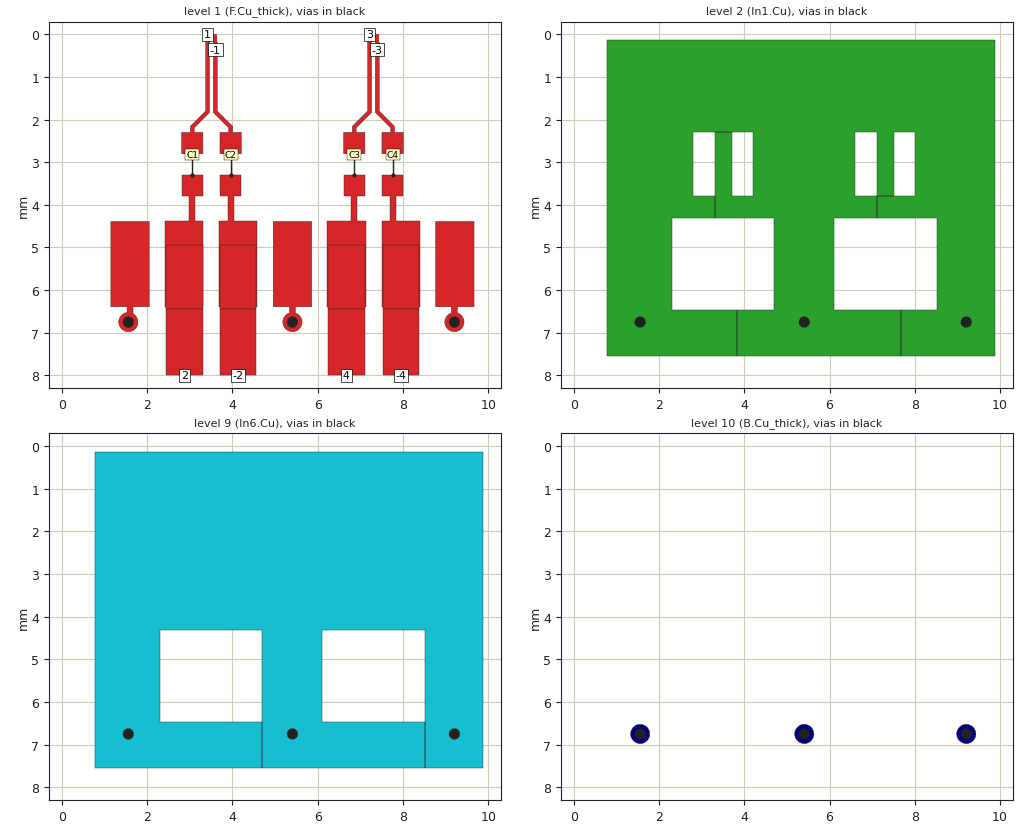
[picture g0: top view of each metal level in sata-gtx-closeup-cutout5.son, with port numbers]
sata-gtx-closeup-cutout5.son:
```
FTYP SONPROJ 19 ! Sonnet Project File
VER 18.52
HEADER
LIC antikernel2.1.51176
DAT 01/05/2022 13:49:53
BUILT_BY_CREATED dxf 18.52 12/15/2021 18:24:32
BUILT_BY_SAVED sonnet 18.52
MDATE 01/05/2022 13:49:53
HDATE 01/05/2022 13:49:53
ANN Created by dxfgeo, Sonnet Software Inc.
END HEADER
DIM
ANG DEG
CAP PF
CON /OH
FREQ GHZ
IND NH
LNG MM
RES OH
END DIM
CONTROL
VARSWP
OPTIONS  -dj
SPEED 1
CACHE_ABS 2
Q_ACC N
END CONTROL
GEO
DRP1 TOP LINK
POLY 6330 1
0
DRP1 BOTTOM LINK
POLY 6343 1
0
TMET "Free Space" 0 FREESPACE 376.7303136 0 0 0
BMET "Free Space" 0 FREESPACE 376.7303136 0 0 0
MET "Copper_1oz_thin" 1 NOR 58000000 0.5 0.035 
MET "Copper_1oz_thick" 2 TMM 58000000 0.5 0.035 2
MET "Copper_0.5oz_thin" 4 NOR 58000000 0.5 0.017 
MET "Copper_0.5oz_thick" 12 TMM 58000000 0.5 0.017 2
MET "Copper_0.5oz_thick_down" 5 TMM 58000000 0.5 0.017 2 CDVY TDWN
MET "Copper_1oz_thick_down" 3 TMM 58000000 0.5 0.035 2 CDVY TDWN
MET "ConnectorPin" 9 TMM 58000000 0.5 0.2 3
BOX 12 10 8 800 640 20 0
      5 1 1 0 0 0 0 "Air"
      0.04 3.5 1 0.025 0 0 0 "Soldermask"
      0.075 3.39 1 0.004 0 0 0 "Panasonic_R-5775(G)"
      0.068 3.56 1 0.004 0 0 0 "Panasonic_R-5670(G)"
      0.13 3.39 1 0.004 0 0 0 "Panasonic_R-5775(G)"
      0.092 3.56 1 0.004 0 0 0 "Panasonic_R-5670(G)"
      0.609 3.39 1 0.004 0 0 0 "Panasonic_R-5775(G)"
      0.092 3.56 1 0.004 0 0 0 "Panasonic_R-5670(G)"
      0.13 3.39 1 0.004 0 0 0 "Panasonic_R-5775(G)"
      0.068 3.56 1 0.004 0 0 0 "Panasonic_R-5670(G)"
      0.075 3.39 1 0.004 0 0 0 "Panasonic_R-5775(G)"
      0.04 3.5 1 0.025 0 0 0 "Soldermask"
      5 1 1 0 0 0 0 "Air"
TECHLAY METAL F.Cu_thick L1D0 -2 -65534 CAD F.Cu_thick drawing 
1 0 1 N 6449 1 1 100 100 0 0 0 Y
END
END
TECHLAY VIA Via1 L9D0 -13 -65534 CAD Via1 drawing 
VIA POLYGON
1 0 -1 N 6455 1 1 100 100 0 0 0 Y
TOLEVEL 10 RING NOCOVERS
END
END
TECHLAY METAL F.Cu_thin <UNSPECIFIED> -1 -65534 CAD F.Cu_thin drawing 
1 0 0 N 6457 1 1 100 100 0 0 0 Y
END
END
TECHLAY METAL ConnectorPin <UNSPECIFIED> -14 -65534 
1 0 6 N 6459 1 1 100 100 0 0 0 Y
END
END
TECHLAY METAL In1.Cu L2D0 -3 -65534 CAD In1.Cu drawing 
2 0 0 N 6474 1 1 100 100 0 0 0 Y
END
END
TECHLAY METAL In2.Cu_thick L3D0 -5 -65534 CAD In2.Cu_thick drawing 
3 0 3 N 6477 1 1 100 100 0 0 0 Y
END
END
TECHLAY METAL In2.Cu_thin <UNSPECIFIED> -4 -65534 CAD In2.Cu drawing 
3 0 2 N 6479 1 1 100 100 0 0 0 Y
END
END
TECHLAY METAL In3.Cu L4D0 -6 -65534 CAD In3.Cu drawing 
4 0 0 N 6482 1 1 100 100 0 0 0 Y
END
END
TECHLAY METAL In4.Cu L5D0 -7 -65534 CAD In4.Cu drawing 
7 0 0 N 6487 1 1 100 100 0 0 0 Y
END
END
TECHLAY METAL In5.Cu_thick L6D0 -9 -65534 CAD In5.Cu_thick drawing 
8 0 4 N 6490 1 1 100 100 0 0 0 Y
END
END
TECHLAY METAL In5.Cu_thin <UNSPECIFIED> -8 -65534 CAD In5.Cu drawing 
8 0 2 N 6492 1 1 100 100 0 0 0 Y
END
END
TECHLAY METAL In6.Cu L7D0 -10 -65534 CAD In6.Cu drawing 
9 0 0 N 6495 1 1 100 100 0 0 0 Y
END
END
TECHLAY METAL B.Cu_thick L8D0 -12 -65534 CAD B.Cu_thick drawing 
10 0 5 N 6498 1 1 100 100 0 0 0 Y
END
END
TECHLAY METAL B.Cu_thin <UNSPECIFIED> -11 -65534 CAD B.Cu_thin drawing 
10 0 0 N 6500 1 1 100 100 0 0 0 Y
END
END
VALVAR CORE_ER NONE "table1(\"core_er.csv\",FREQ)" "Variable set in material file"
VALVAR CORE_DF NONE "table1(\"core_df.csv\",FREQ)" "Variable set in material file"
VALVAR PREPREG_DF NONE "table1(\"prepreg_df.csv\",FREQ)" "Variable set in material file"
VALVAR PREPREG_ER NONE "table1(\"prepreg_er.csv\",FREQ)" "Variable set in material file"
LORGN 0 8 U 
POR1 BOX
POLY 6330 1
2
1 100 0 0 0 3.417 0 
POR1 BOX
POLY 6334 1
2
-1 100 0 0 0 3.597 0 
POR1 BOX
POLY 6337 1
2
3 100 0 0 0 7.217 0 
POR1 BOX
POLY 6340 1
2
-3 100 0 0 0 7.397 0 
POR1 BOX
POLY 6343 1
2
-4 100 0 0 0 7.95 8 
POR1 BOX
POLY 6347 1
2
4 100 0 0 0 6.675 8 
POR1 BOX
POLY 6350 1
2
-2 100 0 0 0 4.125 8 
POR1 BOX
POLY 6353 1
2
2 100 0 0 0 2.875 8 
SMD 1 "C1"
ID 6037
GNDREF AUTO
DRP1 TOP NONE 1
DRP1 BOTTOM NONE 1
SBOX 2.932 3.182 2.925 3.175
PBSHW N
LPOS 3.057 2.925
TYPE IDEAL CAP 100000
SMDP 1 3.057 2.8 T 5 1 
EXSMDP
GNDREF AUTO
TERMW FEED
END EXSMDP
SMDP 1 3.057 3.3 B 6 2 
EXSMDP
GNDREF AUTO
TERMW FEED
END EXSMDP
END
SMD 1 "C2"
ID 6042
GNDREF AUTO
DRP1 TOP NONE 1
DRP1 BOTTOM NONE 1
SBOX 3.832 4.082 2.925 3.175
PBSHW N
LPOS 3.957 2.925
TYPE IDEAL CAP 100000
SMDP 1 3.957 2.8 T 7 1 
EXSMDP
GNDREF AUTO
TERMW FEED
END EXSMDP
SMDP 1 3.957 3.3 B 8 2 
EXSMDP
GNDREF AUTO
TERMW FEED
END EXSMDP
END
SMD 1 "C3"
ID 6047
GNDREF AUTO
DRP1 TOP NONE 1
DRP1 BOTTOM NONE 1
SBOX 6.732 6.982 2.925 3.175
PBSHW N
LPOS 6.857 2.925
TYPE IDEAL CAP 100000
SMDP 1 6.857 2.8 T 9 1 
EXSMDP
GNDREF AUTO
TERMW FEED
END EXSMDP
SMDP 1 6.857 3.3 B 10 2 
EXSMDP
GNDREF AUTO
TERMW FEED
END EXSMDP
END
SMD 1 "C4"
ID 6052
GNDREF AUTO
DRP1 TOP NONE 1
DRP1 BOTTOM NONE 1
SBOX 7.632 7.882 2.925 3.175
PBSHW N
LPOS 7.757 2.925
TYPE IDEAL CAP 100000
SMDP 1 7.757 2.8 T 11 1 
EXSMDP
GNDREF AUTO
TERMW FEED
END EXSMDP
SMDP 1 7.757 3.3 B 12 2 
EXSMDP
GNDREF AUTO
TERMW FEED
END EXSMDP
END
NUM 31
1 13 1 N 36 1 1 100 100 0 0 0 Y
TLAYNAM F.Cu_thick INH
3.687 6.39
3.687 4.39
3.887 4.39
3.887 3.8
3.707 3.8
3.707 3.3
4.207 3.3
4.207 3.8
4.027 3.8
4.027 4.39
4.587 4.39
4.587 6.39
3.687 6.39
END
1 67 1 N 243 1 1 100 100 0 0 0 Y
TLAYNAM F.Cu_thick INH
1.546 6.975
1.524 6.973
1.502 6.968
1.481 6.962
1.461 6.953
1.441 6.943
1.423 6.931
1.406 6.917
1.39 6.901
1.376 6.884
1.364 6.866
1.354 6.846
1.345 6.826
1.339 6.805
1.334 6.783
1.332 6.761
1.332 6.739
1.334 6.717
1.339 6.695
1.345 6.674
1.354 6.654
1.364 6.634
1.376 6.616
1.39 6.599
1.406 6.583
1.423 6.569
1.441 6.557
1.461 6.547
1.481 6.538
1.502 6.532
1.524 6.527
1.527 6.527
1.527 6.39
1.147 6.39
1.147 4.39
2.047 4.39
2.047 6.39
1.667 6.39
1.667 6.554
1.673 6.557
1.691 6.569
1.708 6.583
1.724 6.599
1.738 6.616
1.75 6.634
1.76 6.654
1.769 6.674
1.775 6.695
1.78 6.717
1.782 6.739
1.782 6.761
1.78 6.783
1.775 6.805
1.769 6.826
1.76 6.846
1.75 6.866
1.738 6.884
1.724 6.901
1.708 6.917
1.691 6.931
1.673 6.943
1.653 6.953
1.633 6.962
1.612 6.968
1.59 6.973
1.568 6.975
1.546 6.975
END
1 13 1 N 245 1 1 100 100 0 0 0 Y
TLAYNAM F.Cu_thick INH
2.417 6.39
2.417 4.39
2.987 4.39
2.987 3.8
2.807 3.8
2.807 3.3
3.307 3.3
3.307 3.8
3.127 3.8
3.127 4.39
3.317 4.39
3.317 6.39
2.417 6.39
END
1 67 1 N 506 1 1 100 100 0 0 0 Y
TLAYNAM F.Cu_thick INH
9.196 6.975
9.174 6.973
9.152 6.968
9.131 6.962
9.111 6.953
9.091 6.943
9.073 6.931
9.056 6.917
9.04 6.901
9.026 6.884
9.014 6.866
9.004 6.846
8.995 6.826
8.989 6.805
8.984 6.783
8.982 6.761
8.982 6.739
8.984 6.717
8.989 6.695
8.995 6.674
9.004 6.654
9.014 6.634
9.026 6.616
9.04 6.599
9.056 6.583
9.073 6.569
9.091 6.557
9.111 6.547
9.131 6.538
9.137 6.536
9.137 6.39
8.767 6.39
8.767 4.39
9.667 4.39
9.667 6.39
9.277 6.39
9.277 6.536
9.283 6.538
9.303 6.547
9.323 6.557
9.341 6.569
9.358 6.583
9.374 6.599
9.388 6.616
9.4 6.634
9.41 6.654
9.419 6.674
9.425 6.695
9.43 6.717
9.432 6.739
9.432 6.761
9.43 6.783
9.425 6.805
9.419 6.826
9.41 6.846
9.4 6.866
9.388 6.884
9.374 6.901
9.358 6.917
9.341 6.931
9.323 6.943
9.303 6.953
9.283 6.962
9.262 6.968
9.24 6.973
9.218 6.975
9.196 6.975
END
1 13 1 N 511 1 1 100 100 0 0 0 Y
TLAYNAM F.Cu_thick INH
6.227 6.39
6.227 4.39
6.787 4.39
6.787 3.8
6.607 3.8
6.607 3.3
7.107 3.3
7.107 3.8
6.927 3.8
6.927 4.39
7.127 4.39
7.127 6.39
6.227 6.39
END
1 67 1 N 512 1 1 100 100 0 0 0 Y
TLAYNAM F.Cu_thick INH
5.396 6.975
5.374 6.973
5.352 6.968
5.331 6.962
5.311 6.953
5.291 6.943
5.273 6.931
5.256 6.917
5.24 6.901
5.226 6.884
5.214 6.866
5.204 6.846
5.195 6.826
5.189 6.805
5.184 6.783
5.182 6.761
5.182 6.739
5.184 6.717
5.189 6.695
5.195 6.674
5.204 6.654
5.214 6.634
5.226 6.616
5.24 6.599
5.256 6.583
5.273 6.569
5.291 6.557
5.311 6.547
5.331 6.538
5.337 6.536
5.337 6.39
4.957 6.39
4.957 4.39
5.857 4.39
5.857 6.39
5.477 6.39
5.477 6.536
5.483 6.538
5.503 6.547
5.523 6.557
5.541 6.569
5.558 6.583
5.574 6.599
5.588 6.616
5.6 6.634
5.61 6.654
5.619 6.674
5.625 6.695
5.63 6.717
5.632 6.739
5.632 6.761
5.63 6.783
5.625 6.805
5.619 6.826
5.61 6.846
5.6 6.866
5.588 6.884
5.574 6.901
5.558 6.917
5.541 6.931
5.523 6.943
5.503 6.953
5.483 6.962
5.462 6.968
5.44 6.973
5.418 6.975
5.396 6.975
END
1 13 1 N 516 1 1 100 100 0 0 0 Y
TLAYNAM F.Cu_thick INH
7.497 6.39
7.497 4.39
7.687 4.39
7.687 3.8
7.507 3.8
7.507 3.3
8.007 3.3
8.007 3.8
7.827 3.8
7.827 4.39
8.397 4.39
8.397 6.39
7.497 6.39
END
1 23 1 N 6174 1 1 100 100 0 0 0 Y
TLAYNAM F.Cu_thick INH
4.207 2.3
4.002 2.3
4.002 2.168
4.001 2.164
3.999 2.16
3.998 2.156
3.996 2.152
3.993 2.148
3.642 1.797
3.642 0.175
3.552 0.175
3.552 1.822
3.553 1.826
3.555 1.83
3.556 1.834
3.558 1.838
3.561 1.842
3.912 2.193
3.912 2.3
3.707 2.3
3.707 2.8
4.207 2.8
4.207 2.3
END
1 25 1 N 6175 1 1 100 100 0 0 0 Y
TLAYNAM F.Cu_thick INH
3.307 2.3
3.102 2.3
3.102 2.193
3.444 1.851
3.447 1.849
3.45 1.846
3.456 1.838
3.458 1.835
3.459 1.83
3.461 1.826
3.462 1.822
3.462 0.175
3.372 0.175
3.372 1.797
3.021 2.148
3.018 2.152
3.016 2.156
3.015 2.16
3.013 2.164
3.012 2.168
3.012 2.3
2.807 2.3
2.807 2.8
3.307 2.8
3.307 2.3
END
1 25 1 N 6176 1 1 100 100 0 0 0 Y
TLAYNAM F.Cu_thick INH
7.107 2.3
6.902 2.3
6.902 2.193
7.244 1.851
7.247 1.849
7.25 1.846
7.256 1.838
7.258 1.835
7.259 1.83
7.261 1.826
7.262 1.822
7.262 0.175
7.172 0.175
7.172 1.797
6.821 2.148
6.818 2.152
6.816 2.156
6.815 2.16
6.813 2.164
6.812 2.168
6.812 2.3
6.607 2.3
6.607 2.8
7.107 2.8
7.107 2.3
END
1 23 1 N 6177 1 1 100 100 0 0 0 Y
TLAYNAM F.Cu_thick INH
8.007 2.3
7.802 2.3
7.802 2.168
7.801 2.164
7.799 2.16
7.798 2.156
7.796 2.152
7.793 2.148
7.442 1.797
7.442 0.175
7.352 0.175
7.352 1.822
7.353 1.826
7.355 1.83
7.356 1.834
7.358 1.838
7.361 1.842
7.712 2.193
7.712 2.3
7.507 2.3
7.507 2.8
8.007 2.8
8.007 2.3
END
1 5 1 N 6330 1 1 100 100 0 0 0 Y
TLAYNAM F.Cu_thick INH
3.462 0.175
3.372 0.175
3.372 0
3.462 0
3.462 0.175
END
1 5 1 N 6334 1 1 100 100 0 0 0 Y
TLAYNAM F.Cu_thick INH
3.642 0.175
3.552 0.175
3.552 0
3.642 0
3.642 0.175
END
1 5 1 N 6337 1 1 100 100 0 0 0 Y
TLAYNAM F.Cu_thick INH
7.262 0.175
7.172 0.175
7.172 0
7.262 0
7.262 0.175
END
1 5 1 N 6340 1 1 100 100 0 0 0 Y
TLAYNAM F.Cu_thick INH
7.442 0.175
7.352 0.175
7.352 0
7.442 0
7.442 0.175
END
VIA POLYGON
1 53 -1 N 5255 1 1 100 100 0 0 0 Y
TOLEVEL 10 RING NOCOVERS
TLAYNAM Via1 INH
1.557 6.875
1.533 6.873
1.521 6.87
1.509 6.865
1.498 6.86
1.488 6.854
1.478 6.847
1.46 6.829
1.453 6.819
1.447 6.809
1.442 6.798
1.437 6.786
1.434 6.774
1.432 6.75
1.434 6.726
1.437 6.714
1.442 6.702
1.447 6.691
1.453 6.681
1.46 6.671
1.478 6.653
1.488 6.646
1.498 6.64
1.509 6.635
1.521 6.63
1.533 6.627
1.557 6.625
1.581 6.627
1.593 6.63
1.605 6.635
1.616 6.64
1.626 6.646
1.636 6.653
1.654 6.671
1.661 6.681
1.667 6.691
1.672 6.702
1.677 6.714
1.68 6.726
1.682 6.75
1.68 6.774
1.677 6.786
1.672 6.798
1.667 6.809
1.661 6.819
1.654 6.829
1.636 6.847
1.626 6.854
1.616 6.86
1.605 6.865
1.593 6.87
1.581 6.873
1.557 6.875
END
VIA POLYGON
1 53 -1 N 5321 1 1 100 100 0 0 0 Y
TOLEVEL 10 RING NOCOVERS
TLAYNAM Via1 INH
5.407 6.875
5.383 6.873
5.371 6.87
5.359 6.865
5.348 6.86
5.338 6.854
5.328 6.847
5.31 6.829
5.303 6.819
5.297 6.809
5.292 6.798
5.287 6.786
5.284 6.774
5.282 6.75
5.284 6.726
5.287 6.714
5.292 6.702
5.297 6.691
5.303 6.681
5.31 6.671
5.328 6.653
5.338 6.646
5.348 6.64
5.359 6.635
5.371 6.63
5.383 6.627
5.407 6.625
5.431 6.627
5.443 6.63
5.455 6.635
5.466 6.64
5.476 6.646
5.486 6.653
5.504 6.671
5.511 6.681
5.517 6.691
5.522 6.702
5.527 6.714
5.53 6.726
5.532 6.75
5.53 6.774
5.527 6.786
5.522 6.798
5.517 6.809
5.511 6.819
5.504 6.829
5.486 6.847
5.476 6.854
5.466 6.86
5.455 6.865
5.443 6.87
5.431 6.873
5.407 6.875
END
VIA POLYGON
1 53 -1 N 5324 1 1 100 100 0 0 0 Y
TOLEVEL 10 RING NOCOVERS
TLAYNAM Via1 INH
9.207 6.875
9.183 6.873
9.171 6.87
9.159 6.865
9.148 6.86
9.138 6.854
9.128 6.847
9.11 6.829
9.103 6.819
9.097 6.809
9.092 6.798
9.087 6.786
9.084 6.774
9.082 6.75
9.084 6.726
9.087 6.714
9.092 6.702
9.097 6.691
9.103 6.681
9.11 6.671
9.128 6.653
9.138 6.646
9.148 6.64
9.159 6.635
9.171 6.63
9.183 6.627
9.207 6.625
9.231 6.627
9.243 6.63
9.255 6.635
9.266 6.64
9.276 6.646
9.286 6.653
9.304 6.671
9.311 6.681
9.317 6.691
9.322 6.702
9.327 6.714
9.33 6.726
9.332 6.75
9.33 6.774
9.327 6.786
9.322 6.798
9.317 6.809
9.311 6.819
9.304 6.829
9.286 6.847
9.276 6.854
9.266 6.86
9.255 6.865
9.243 6.87
9.231 6.873
9.207 6.875
END
1 5 6 N 6139 1 1 100 100 0 0 0 Y
TLAYNAM ConnectorPin INH
2.45 4.95
3.3 4.95
3.3 6.45
2.45 6.45
2.45 4.95
END
1 5 6 N 6146 1 1 100 100 0 0 0 Y
TLAYNAM ConnectorPin INH
3.7 4.95
4.55 4.95
4.55 6.45
3.7 6.45
3.7 4.95
END
1 5 6 N 6151 1 1 100 100 0 0 0 Y
TLAYNAM ConnectorPin INH
6.25 4.95
7.1 4.95
7.1 6.45
6.25 6.45
6.25 4.95
END
1 5 6 N 6156 1 1 100 100 0 0 0 Y
TLAYNAM ConnectorPin INH
7.525 4.95
8.375 4.95
8.375 6.45
7.525 6.45
7.525 4.95
END
1 5 6 N 6343 1 1 100 100 0 0 0 Y
TLAYNAM ConnectorPin INH
8.375 6.45
7.525 6.45
7.525 8
8.375 8
8.375 6.45
END
1 5 6 N 6347 1 1 100 100 0 0 0 Y
TLAYNAM ConnectorPin INH
7.1 6.45
6.25 6.45
6.25 8
7.1 8
7.1 6.45
END
1 5 6 N 6350 1 1 100 100 0 0 0 Y
TLAYNAM ConnectorPin INH
4.55 6.45
3.7 6.45
3.7 8
4.55 8
4.55 6.45
END
1 5 6 N 6353 1 1 100 100 0 0 0 Y
TLAYNAM ConnectorPin INH
3.3 6.45
2.45 6.45
2.45 8
3.3 8
3.3 6.45
END
2 57 0 N 6430 1 1 100 100 0 0 0 Y
TLAYNAM In1.Cu INH
9.875 3.8
9.875 0.125
0.775 0.125
0.775 3.8
0.775 7.55
3.825 7.55
3.825 6.475
2.3 6.475
2.3 4.3
3.307 4.3
3.307 3.8
2.807 3.8
2.807 2.3
3.307 2.3
3.707 2.3
3.707 2.3
3.707 2.3
4.207 2.3
4.207 3.8
3.707 3.8
3.707 2.3
3.307 2.3
3.307 3.8
3.307 3.8
3.307 4.3
4.7 4.3
4.7 6.475
3.825 6.475
3.825 6.475
3.825 7.55
7.675 7.55
7.675 6.475
6.725 6.475
6.725 6.475
6.1 6.475
6.1 4.3
7.107 4.3
7.107 3.8
6.607 3.8
6.607 2.3
7.107 2.3
7.107 3.8
7.507 3.8
7.507 2.3
8.007 2.3
8.007 3.8
7.507 3.8
7.107 3.8
7.107 3.8
7.107 4.3
8.525 4.3
8.525 6.475
7.675 6.475
7.675 6.475
7.675 7.55
9.875 7.55
9.875 3.8
END
9 19 0 N 6514 1 1 100 100 0 0 0 Y
TLAYNAM In6.Cu INH
9.875 0.125
0.775 0.125
0.775 7.55
4.7 7.55
4.7 6.475
2.3 6.475
2.3 4.3
4.7 4.3
4.7 6.475
4.7 7.55
8.525 7.55
8.525 6.475
6.1 6.475
6.1 4.3
8.525 4.3
8.525 6.475
8.525 7.55
9.875 7.55
9.875 0.125
END
10 65 5 N 4544 1 1 100 100 0 0 0 Y
TLAYNAM B.Cu_thick INH
1.546 6.975
1.524 6.973
1.502 6.968
1.481 6.962
1.461 6.953
1.441 6.943
1.423 6.931
1.406 6.917
1.39 6.901
1.376 6.884
1.364 6.866
1.354 6.846
1.345 6.826
1.339 6.805
1.334 6.783
1.332 6.761
1.332 6.739
1.334 6.717
1.339 6.695
1.345 6.674
1.354 6.654
1.364 6.634
1.376 6.616
1.39 6.599
1.406 6.583
1.423 6.569
1.441 6.557
1.461 6.547
1.481 6.538
1.502 6.532
1.524 6.527
1.546 6.525
1.568 6.525
1.59 6.527
1.612 6.532
1.633 6.538
1.653 6.547
1.673 6.557
1.691 6.569
1.708 6.583
1.724 6.599
1.738 6.616
1.75 6.634
1.76 6.654
1.769 6.674
1.775 6.695
1.78 6.717
1.782 6.739
1.782 6.761
1.78 6.783
1.775 6.805
1.769 6.826
1.76 6.846
1.75 6.866
1.738 6.884
1.724 6.901
1.708 6.917
1.691 6.931
1.673 6.943
1.653 6.953
1.633 6.962
1.612 6.968
1.59 6.973
1.568 6.975
1.546 6.975
END
10 65 5 N 4560 1 1 100 100 0 0 0 Y
TLAYNAM B.Cu_thick INH
5.396 6.975
5.374 6.973
5.352 6.968
5.331 6.962
5.311 6.953
5.291 6.943
5.273 6.931
5.256 6.917
5.24 6.901
5.226 6.884
5.214 6.866
5.204 6.846
5.195 6.826
5.189 6.805
5.184 6.783
5.182 6.761
5.182 6.739
5.184 6.717
5.189 6.695
5.195 6.674
5.204 6.654
5.214 6.634
5.226 6.616
5.24 6.599
5.256 6.583
5.273 6.569
5.291 6.557
5.311 6.547
5.331 6.538
5.352 6.532
5.374 6.527
5.396 6.525
5.418 6.525
5.44 6.527
5.462 6.532
5.483 6.538
5.503 6.547
5.523 6.557
5.541 6.569
5.558 6.583
5.574 6.599
5.588 6.616
5.6 6.634
5.61 6.654
5.619 6.674
5.625 6.695
5.63 6.717
5.632 6.739
5.632 6.761
5.63 6.783
5.625 6.805
5.619 6.826
5.61 6.846
5.6 6.866
5.588 6.884
5.574 6.901
5.558 6.917
5.541 6.931
5.523 6.943
5.503 6.953
5.483 6.962
5.462 6.968
5.44 6.973
5.418 6.975
5.396 6.975
END
10 65 5 N 4831 1 1 100 100 0 0 0 Y
TLAYNAM B.Cu_thick INH
9.196 6.975
9.174 6.973
9.152 6.968
9.131 6.962
9.111 6.953
9.091 6.943
9.073 6.931
9.056 6.917
9.04 6.901
9.026 6.884
9.014 6.866
9.004 6.846
8.995 6.826
8.989 6.805
8.984 6.783
8.982 6.761
8.982 6.739
8.984 6.717
8.989 6.695
8.995 6.674
9.004 6.654
9.014 6.634
9.026 6.616
9.04 6.599
9.056 6.583
9.073 6.569
9.091 6.557
9.111 6.547
9.131 6.538
9.152 6.532
9.174 6.527
9.196 6.525
9.218 6.525
9.24 6.527
9.262 6.532
9.283 6.538
9.303 6.547
9.323 6.557
9.341 6.569
9.358 6.583
9.374 6.599
9.388 6.616
9.4 6.634
9.41 6.654
9.419 6.674
9.425 6.695
9.43 6.717
9.432 6.739
9.432 6.761
9.43 6.783
9.425 6.805
9.419 6.826
9.41 6.846
9.4 6.866
9.388 6.884
9.374 6.901
9.358 6.917
9.341 6.931
9.323 6.943
9.303 6.953
9.283 6.962
9.262 6.968
9.24 6.973
9.218 6.975
9.196 6.975
END
END GEO
OPT
MAX 100
END OPT
VARSWP
ENABLED Y
FREQ Y AY ABS_ENTRY 0.001 12.0 -1 300 
END
END VARSWP
3DOPTIONS
GLOBAL 2
ALL 13 1
END 3DOPTIONS
```
